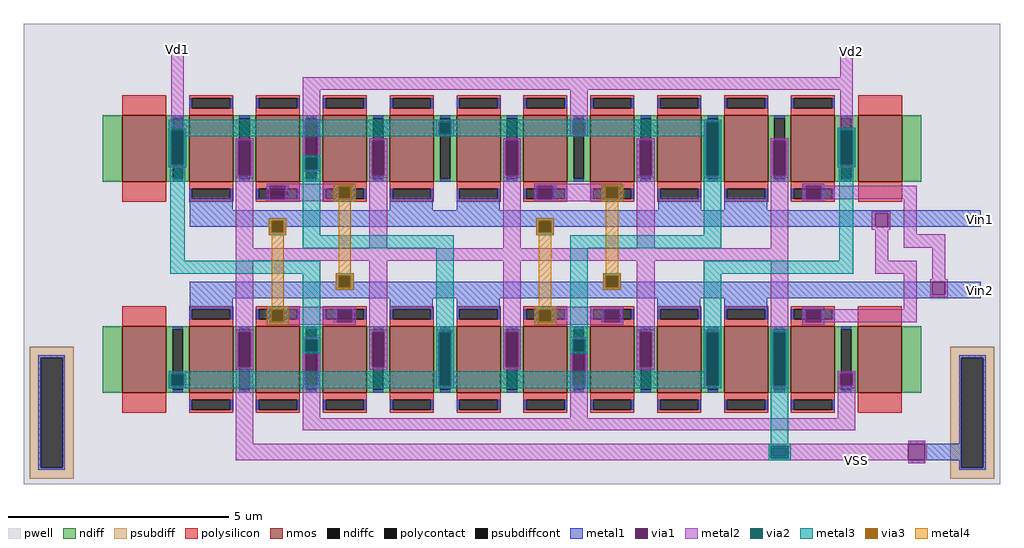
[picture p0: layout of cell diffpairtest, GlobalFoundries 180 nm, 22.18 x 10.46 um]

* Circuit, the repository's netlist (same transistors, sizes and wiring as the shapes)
* NGSPICE file created from diffpairtest_layout.ext - technology: gf180mcuD

.subckt nfet_03v3_CGC9B5 a_860_n150# a_n860_n242# a_n52_n150# a_n964_n150# a_356_n242#
+ a_n660_n150# a_n1572_n150# a_52_n242# a_1268_n242# a_964_n242# a_556_n150# a_n556_n242#
+ a_660_n242# a_n1468_n242# a_252_n150# a_n252_n242# a_n1164_n242# a_1468_n150# a_1164_n150#
+ a_n356_n150# a_n1268_n150# VSUBS
X0 a_n356_n150# a_n556_n242# a_n660_n150# VSUBS nfet_03v3 ad=0.39p pd=2.02u as=0.39p ps=2.02u w=1.5u l=1u
X1 a_n1268_n150# a_n1468_n242# a_n1572_n150# VSUBS nfet_03v3 ad=0.39p pd=2.02u as=0.39p ps=2.02u w=1.5u l=1u
X2 a_1164_n150# a_964_n242# a_860_n150# VSUBS nfet_03v3 ad=0.39p pd=2.02u as=0.39p ps=2.02u w=1.5u l=1u
X3 a_n660_n150# a_n860_n242# a_n964_n150# VSUBS nfet_03v3 ad=0.39p pd=2.02u as=0.39p ps=2.02u w=1.5u l=1u
X4 a_1468_n150# a_1268_n242# a_1164_n150# VSUBS nfet_03v3 ad=0.39p pd=2.02u as=0.39p ps=2.02u w=1.5u l=1u
X5 a_556_n150# a_356_n242# a_252_n150# VSUBS nfet_03v3 ad=0.39p pd=2.02u as=0.39p ps=2.02u w=1.5u l=1u
X6 a_n1572_n150# a_n1772_n242# a_n1860_n150# VSUBS nfet_03v3 ad=0.39p pd=2.02u as=0.66p ps=3.88u w=1.5u l=1u
X7 a_252_n150# a_52_n242# a_n52_n150# VSUBS nfet_03v3 ad=0.39p pd=2.02u as=0.39p ps=2.02u w=1.5u l=1u
X8 a_n52_n150# a_n252_n242# a_n356_n150# VSUBS nfet_03v3 ad=0.39p pd=2.02u as=0.39p ps=2.02u w=1.5u l=1u
X9 a_n964_n150# a_n1164_n242# a_n1268_n150# VSUBS nfet_03v3 ad=0.39p pd=2.02u as=0.39p ps=2.02u w=1.5u l=1u
X10 a_860_n150# a_660_n242# a_556_n150# VSUBS nfet_03v3 ad=0.39p pd=2.02u as=0.39p ps=2.02u w=1.5u l=1u
X11 a_1772_n150# a_1572_n242# a_1468_n150# VSUBS nfet_03v3 ad=0.66p pd=3.88u as=0.39p ps=2.02u w=1.5u l=1u
.ends

.subckt diffpairtest_layout Vin1 VSS Vd1 Vd2 Vin2
Xnfet_03v3_CGC9B5_0 Vd1 Vin2 VSS Vd2 Vin2 VSS Vd1 Vin2 Vin2 Vin1 VSS Vin1 Vin1 Vin1
+ Vd2 Vin1 Vin2 Vd2 VSS Vd1 VSS VSS nfet_03v3_CGC9B5
Xnfet_03v3_CGC9B5_1 Vd2 Vin1 VSS Vd1 Vin1 VSS Vd2 Vin1 Vin1 Vin2 VSS Vin2 Vin2 Vin2
+ Vd1 Vin2 Vin1 Vd1 VSS Vd2 VSS VSS nfet_03v3_CGC9B5
.ends

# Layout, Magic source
magic
tech gf180mcuD
magscale 1 10
<< pwell >>
rect 9322 1840 13758 3931
<< nmos >>
rect 9768 3215 9968 3515
rect 13113 3215 13313 3515
rect 9768 2256 9968 2556
rect 13112 2256 13312 2556
<< ndiff >>
rect 9680 3215 9768 3515
rect 9968 3215 10004 3515
rect 13093 3215 13113 3515
rect 13313 3215 13401 3515
rect 9680 2256 9768 2556
rect 9968 2256 9997 2556
rect 13083 2256 13112 2556
rect 13312 2256 13400 2556
<< psubdiff >>
rect 9347 2415 9547 2465
rect 9347 1915 9397 2415
rect 9497 1915 9547 2415
rect 13533 2415 13733 2465
rect 9347 1865 9547 1915
rect 13533 1915 13583 2415
rect 13683 1915 13733 2415
rect 13533 1865 13733 1915
<< psubdiffcont >>
rect 9397 1915 9497 2415
rect 13583 1915 13683 2415
<< polysilicon >>
rect 9768 3515 9968 3607
rect 13113 3515 13313 3607
rect 9768 3123 9968 3215
rect 10430 3135 10520 3205
rect 10430 3125 10520 3130
rect 13113 3123 13313 3215
rect 9768 2556 9968 2648
rect 13112 2556 13312 2648
rect 9768 2164 9968 2256
rect 13112 2164 13312 2256
<< metal1 >>
rect 10588 3486 10668 3496
rect 9980 3450 10060 3460
rect 9980 3289 9992 3450
rect 10048 3289 10060 3450
rect 9980 3279 10060 3289
rect 10284 3402 10364 3412
rect 10284 3241 10296 3402
rect 10352 3241 10364 3402
rect 10588 3269 10600 3486
rect 10656 3269 10668 3486
rect 11196 3486 11276 3496
rect 11196 3430 11208 3486
rect 11264 3430 11276 3486
rect 11196 3420 11276 3430
rect 11804 3486 11884 3496
rect 11804 3430 11816 3486
rect 11872 3430 11884 3486
rect 11804 3420 11884 3430
rect 12412 3486 12492 3496
rect 10588 3261 10668 3269
rect 10892 3402 10972 3412
rect 10284 3231 10364 3241
rect 10892 3241 10904 3402
rect 10960 3241 10972 3402
rect 10892 3231 10972 3241
rect 11500 3402 11580 3412
rect 11500 3241 11512 3402
rect 11568 3241 11580 3402
rect 11500 3231 11580 3241
rect 12108 3402 12188 3412
rect 12108 3241 12120 3402
rect 12176 3241 12188 3402
rect 12108 3231 12188 3241
rect 12412 3241 12424 3486
rect 12480 3241 12492 3486
rect 13020 3450 13100 3460
rect 12412 3231 12492 3241
rect 12716 3402 12796 3412
rect 12716 3241 12728 3402
rect 12784 3241 12796 3402
rect 13020 3289 13032 3450
rect 13088 3289 13100 3450
rect 13020 3279 13100 3289
rect 12716 3231 12796 3241
rect 10425 3140 10440 3195
rect 10075 3085 10270 3140
rect 10380 3135 10440 3140
rect 10510 3140 10525 3195
rect 10510 3135 10565 3140
rect 10730 3135 10745 3195
rect 10815 3135 10830 3195
rect 10985 3085 11180 3140
rect 11290 3085 11485 3140
rect 11640 3135 11655 3195
rect 11725 3135 11740 3195
rect 11945 3135 11960 3195
rect 12030 3135 12045 3195
rect 12205 3085 12400 3140
rect 12505 3085 12700 3140
rect 12860 3135 12875 3195
rect 12945 3135 12960 3195
rect 10075 3070 13670 3085
rect 10075 3037 13190 3070
rect 10075 3010 10447 3037
rect 10435 2981 10447 3010
rect 10503 3010 11662 3037
rect 10503 2981 10515 3010
rect 10435 2971 10515 2981
rect 11650 2981 11662 3010
rect 11718 3010 13190 3037
rect 13250 3010 13670 3070
rect 11718 2981 11730 3010
rect 11650 2971 11730 2981
rect 10740 2789 10820 2799
rect 10740 2760 10752 2789
rect 10075 2733 10752 2760
rect 10808 2760 10820 2789
rect 11955 2789 12035 2799
rect 11955 2760 11967 2789
rect 10808 2733 11967 2760
rect 12023 2760 12035 2789
rect 12023 2733 13450 2760
rect 10075 2700 13450 2733
rect 13510 2700 13670 2760
rect 10075 2685 13670 2700
rect 10075 2635 10270 2685
rect 10985 2635 11180 2685
rect 11290 2635 11485 2685
rect 12200 2635 12395 2685
rect 12505 2635 12700 2685
rect 10430 2590 10440 2635
rect 10425 2575 10440 2590
rect 10510 2590 10520 2635
rect 10735 2590 10745 2635
rect 10510 2575 10525 2590
rect 10730 2575 10745 2590
rect 10815 2590 10825 2635
rect 11645 2590 11655 2635
rect 10815 2575 10830 2590
rect 11640 2575 11655 2590
rect 11725 2590 11735 2635
rect 11950 2590 11960 2635
rect 11725 2575 11740 2590
rect 11945 2575 11960 2590
rect 12030 2590 12040 2635
rect 12865 2590 12875 2635
rect 12030 2575 12045 2590
rect 12860 2575 12875 2590
rect 12945 2590 12955 2635
rect 12945 2575 12960 2590
rect 10284 2531 10364 2541
rect 9386 2415 9508 2426
rect 9386 1915 9397 2415
rect 9497 1915 9508 2415
rect 10284 2370 10296 2531
rect 10352 2370 10364 2531
rect 10892 2531 10972 2541
rect 10284 2360 10364 2370
rect 10588 2497 10668 2507
rect 9980 2342 10060 2352
rect 9980 2286 9992 2342
rect 10048 2286 10060 2342
rect 9980 2276 10060 2286
rect 10588 2286 10600 2497
rect 10656 2286 10668 2497
rect 10892 2370 10904 2531
rect 10960 2370 10972 2531
rect 10892 2360 10972 2370
rect 11196 2531 11276 2541
rect 10588 2276 10668 2286
rect 11196 2286 11208 2531
rect 11264 2286 11276 2531
rect 11500 2531 11580 2541
rect 11500 2370 11512 2531
rect 11568 2370 11580 2531
rect 12108 2531 12188 2541
rect 11500 2360 11580 2370
rect 11804 2497 11884 2507
rect 11196 2276 11276 2286
rect 11804 2286 11816 2497
rect 11872 2286 11884 2497
rect 12108 2370 12120 2531
rect 12176 2370 12188 2531
rect 12108 2360 12188 2370
rect 12412 2531 12492 2541
rect 11804 2276 11884 2286
rect 12412 2286 12424 2531
rect 12480 2286 12492 2531
rect 12412 2276 12492 2286
rect 12716 2531 12796 2541
rect 12716 2286 12728 2531
rect 12784 2286 12796 2531
rect 13572 2415 13694 2426
rect 12716 2276 12796 2286
rect 13020 2343 13100 2353
rect 13020 2286 13032 2343
rect 13088 2286 13100 2343
rect 13020 2276 13100 2286
rect 13340 2024 13419 2036
rect 13572 2024 13583 2415
rect 13340 1947 13342 2024
rect 13417 1947 13583 2024
rect 13340 1935 13419 1947
rect 9386 1904 9508 1915
rect 13572 1915 13583 1947
rect 13683 1915 13694 2415
rect 13572 1904 13694 1915
<< via1 >>
rect 9992 3289 10048 3450
rect 10296 3241 10352 3402
rect 10600 3269 10656 3486
rect 11208 3430 11264 3486
rect 11816 3430 11872 3486
rect 10904 3241 10960 3402
rect 11512 3241 11568 3402
rect 12120 3241 12176 3402
rect 12424 3241 12480 3486
rect 12728 3241 12784 3402
rect 13032 3289 13088 3450
rect 10440 3135 10510 3195
rect 10745 3135 10815 3195
rect 11655 3135 11725 3195
rect 11960 3135 12030 3195
rect 12875 3135 12945 3195
rect 10447 2981 10503 3037
rect 11662 2981 11718 3037
rect 13190 3010 13250 3070
rect 10752 2733 10808 2789
rect 11967 2733 12023 2789
rect 13450 2700 13510 2760
rect 10440 2575 10510 2635
rect 10745 2575 10815 2635
rect 11655 2575 11725 2635
rect 11960 2575 12030 2635
rect 12875 2575 12945 2635
rect 10296 2370 10352 2531
rect 9992 2286 10048 2342
rect 10600 2286 10656 2497
rect 10904 2370 10960 2531
rect 11208 2286 11264 2531
rect 11512 2370 11568 2531
rect 11816 2286 11872 2497
rect 12120 2370 12176 2531
rect 12424 2286 12480 2531
rect 12728 2286 12784 2531
rect 13032 2286 13088 2343
rect 13342 1947 13417 2024
<< metal2 >>
rect 9992 3460 10048 3814
rect 13032 3688 13088 3804
rect 10588 3632 13088 3688
rect 10588 3486 10668 3632
rect 9980 3450 10060 3460
rect 9980 3289 9992 3450
rect 10048 3289 10060 3450
rect 9980 3279 10060 3289
rect 10284 3402 10364 3412
rect 10284 3241 10296 3402
rect 10352 3241 10364 3402
rect 10588 3269 10600 3486
rect 10656 3269 10668 3486
rect 11196 3486 11276 3496
rect 11196 3430 11208 3486
rect 11264 3430 11276 3486
rect 11196 3420 11276 3430
rect 11804 3486 11884 3632
rect 11804 3430 11816 3486
rect 11872 3430 11884 3486
rect 11804 3420 11884 3430
rect 12412 3486 12492 3496
rect 10588 3261 10668 3269
rect 10892 3402 10972 3412
rect 10284 2911 10364 3241
rect 10892 3241 10904 3402
rect 10960 3241 10972 3402
rect 10425 3195 10830 3205
rect 10425 3135 10440 3195
rect 10510 3135 10745 3195
rect 10815 3135 10830 3195
rect 10425 3125 10830 3135
rect 10435 3037 10515 3047
rect 10435 2981 10447 3037
rect 10503 2981 10515 3037
rect 10435 2971 10515 2981
rect 10892 2911 10972 3241
rect 11500 3402 11580 3412
rect 11500 3241 11512 3402
rect 11568 3241 11580 3402
rect 11500 2911 11580 3241
rect 12108 3402 12188 3412
rect 12108 3241 12120 3402
rect 12176 3241 12188 3402
rect 11640 3195 12045 3205
rect 11640 3135 11655 3195
rect 11725 3135 11960 3195
rect 12030 3135 12045 3195
rect 11640 3125 12045 3135
rect 11650 3037 11730 3047
rect 11650 2981 11662 3037
rect 11718 2981 11730 3037
rect 11650 2971 11730 2981
rect 12108 2911 12188 3241
rect 12412 3241 12424 3486
rect 12480 3241 12492 3486
rect 13032 3460 13088 3632
rect 13020 3450 13100 3460
rect 12412 3231 12492 3241
rect 12716 3402 12796 3412
rect 12716 3241 12728 3402
rect 12784 3241 12796 3402
rect 13020 3289 13032 3450
rect 13088 3289 13100 3450
rect 13020 3279 13100 3289
rect 12716 2911 12796 3241
rect 12860 3195 12960 3205
rect 13154 3195 13380 3196
rect 12860 3135 12875 3195
rect 12945 3136 13380 3195
rect 12945 3135 13119 3136
rect 12860 3125 12960 3135
rect 13175 3070 13260 3080
rect 13175 3010 13190 3070
rect 13250 3010 13260 3070
rect 13175 2995 13260 3010
rect 10284 2855 12796 2911
rect 10284 2531 10364 2855
rect 10740 2789 10820 2799
rect 10740 2733 10752 2789
rect 10808 2733 10820 2789
rect 10740 2723 10820 2733
rect 10425 2635 10830 2645
rect 10425 2575 10440 2635
rect 10510 2575 10745 2635
rect 10815 2575 10830 2635
rect 10425 2565 10830 2575
rect 10284 2370 10296 2531
rect 10352 2370 10364 2531
rect 10892 2531 10972 2855
rect 9980 2342 10060 2352
rect 9980 2286 9992 2342
rect 10048 2286 10060 2342
rect 9980 2276 10060 2286
rect 10284 2024 10364 2370
rect 10588 2497 10668 2507
rect 10588 2286 10600 2497
rect 10656 2286 10668 2497
rect 10892 2370 10904 2531
rect 10960 2370 10972 2531
rect 10892 2360 10972 2370
rect 11196 2531 11276 2541
rect 10588 2140 10668 2286
rect 11196 2286 11208 2531
rect 11264 2286 11276 2531
rect 11500 2531 11580 2855
rect 11955 2789 12035 2799
rect 11955 2733 11967 2789
rect 12023 2733 12035 2789
rect 11955 2723 12035 2733
rect 11640 2635 12045 2645
rect 11640 2575 11655 2635
rect 11725 2575 11960 2635
rect 12030 2575 12045 2635
rect 11640 2565 12045 2575
rect 11500 2370 11512 2531
rect 11568 2370 11580 2531
rect 12108 2531 12188 2855
rect 11500 2360 11580 2370
rect 11804 2497 11884 2507
rect 11196 2276 11276 2286
rect 11804 2286 11816 2497
rect 11872 2286 11884 2497
rect 12108 2370 12120 2531
rect 12176 2370 12188 2531
rect 12108 2360 12188 2370
rect 12412 2531 12492 2541
rect 11804 2140 11884 2286
rect 12412 2286 12424 2531
rect 12480 2286 12492 2531
rect 12412 2276 12492 2286
rect 12716 2531 12796 2855
rect 13190 2855 13250 2995
rect 13320 2975 13380 3136
rect 13320 2915 13510 2975
rect 13190 2795 13380 2855
rect 12860 2635 12960 2645
rect 13320 2635 13380 2795
rect 13450 2770 13510 2915
rect 13440 2760 13520 2770
rect 13440 2700 13450 2760
rect 13510 2700 13520 2760
rect 13440 2690 13520 2700
rect 12860 2575 12875 2635
rect 12945 2575 13380 2635
rect 12860 2565 12960 2575
rect 12716 2286 12728 2531
rect 12784 2286 12796 2531
rect 12716 2276 12796 2286
rect 13020 2343 13100 2353
rect 13020 2286 13032 2343
rect 13088 2286 13100 2343
rect 13020 2140 13100 2286
rect 10588 2084 13100 2140
rect 13340 2024 13419 2036
rect 10284 2013 13342 2024
rect 10284 1957 12716 2013
rect 12796 1957 13342 2013
rect 10284 1947 13342 1957
rect 13417 1947 13426 2024
rect 13340 1935 13419 1947
<< via2 >>
rect 9992 3289 10048 3450
rect 10600 3269 10656 3325
rect 11208 3430 11264 3486
rect 10752 3137 10808 3193
rect 10447 2981 10503 3037
rect 11967 3137 12023 3193
rect 11662 2981 11718 3037
rect 12424 3241 12480 3486
rect 13032 3289 13088 3450
rect 10752 2733 10808 2789
rect 10447 2577 10503 2633
rect 9992 2286 10048 2342
rect 10600 2441 10656 2497
rect 11208 2286 11264 2531
rect 11967 2733 12023 2789
rect 11662 2577 11718 2633
rect 11816 2441 11872 2497
rect 12424 2286 12480 2531
rect 12728 2286 12784 2531
rect 12716 1957 12796 2013
<< metal3 >>
rect 9980 3486 12492 3496
rect 9980 3450 11208 3486
rect 9980 3289 9992 3450
rect 10048 3430 11208 3450
rect 11264 3430 12424 3486
rect 10048 3420 12424 3430
rect 10048 3289 10060 3420
rect 9980 3279 10060 3289
rect 10588 3325 10668 3335
rect 9987 2855 10052 3279
rect 10588 3269 10600 3325
rect 10656 3269 10668 3325
rect 10435 3037 10515 3047
rect 10435 2981 10447 3037
rect 10503 2981 10515 3037
rect 10435 2971 10515 2981
rect 10588 2971 10668 3269
rect 12412 3241 12424 3420
rect 12480 3241 12492 3486
rect 13020 3450 13100 3460
rect 13020 3289 13032 3450
rect 13088 3289 13100 3450
rect 13020 3279 13100 3289
rect 10730 3193 10830 3205
rect 10730 3137 10752 3193
rect 10808 3137 10830 3193
rect 10730 3125 10830 3137
rect 11945 3193 12045 3205
rect 11945 3137 11967 3193
rect 12023 3137 12045 3193
rect 11945 3125 12045 3137
rect 11650 3037 11730 3047
rect 11650 2981 11662 3037
rect 11718 2981 11730 3037
rect 11650 2971 11730 2981
rect 12412 2971 12492 3241
rect 10588 2911 11276 2971
rect 9987 2795 10668 2855
rect 10425 2633 10525 2645
rect 10425 2577 10447 2633
rect 10503 2577 10525 2633
rect 10425 2565 10525 2577
rect 10588 2497 10668 2795
rect 10740 2789 10820 2799
rect 10740 2733 10752 2789
rect 10808 2733 10820 2789
rect 10740 2723 10820 2733
rect 10588 2441 10600 2497
rect 10656 2441 10668 2497
rect 10588 2431 10668 2441
rect 11196 2531 11276 2911
rect 11804 2911 12492 2971
rect 11640 2633 11740 2645
rect 11640 2577 11662 2633
rect 11718 2577 11740 2633
rect 11640 2565 11740 2577
rect 11196 2352 11208 2531
rect 9980 2342 11208 2352
rect 9980 2286 9992 2342
rect 10048 2286 11208 2342
rect 11264 2352 11276 2531
rect 11804 2497 11884 2911
rect 13027 2855 13092 3279
rect 11955 2789 12035 2799
rect 11955 2733 11967 2789
rect 12023 2733 12035 2789
rect 11955 2723 12035 2733
rect 12412 2795 13092 2855
rect 11804 2441 11816 2497
rect 11872 2441 11884 2497
rect 11804 2431 11884 2441
rect 12412 2531 12492 2795
rect 12412 2352 12424 2531
rect 11264 2286 12424 2352
rect 12480 2286 12492 2531
rect 9980 2276 12492 2286
rect 12716 2531 12796 2541
rect 12716 2286 12728 2531
rect 12784 2286 12796 2531
rect 12716 2024 12796 2286
rect 12706 2013 12806 2024
rect 12706 1957 12716 2013
rect 12796 1957 12806 2013
rect 12706 1947 12806 1957
<< via3 >>
rect 10447 2981 10503 3037
rect 10752 3137 10808 3193
rect 11967 3137 12023 3193
rect 11662 2981 11718 3037
rect 10447 2577 10503 2633
rect 10752 2733 10808 2789
rect 11662 2577 11718 2633
rect 11967 2733 12023 2789
<< metal4 >>
rect 10730 3193 10830 3205
rect 10730 3137 10752 3193
rect 10808 3137 10830 3193
rect 10730 3125 10830 3137
rect 11945 3193 12045 3205
rect 11945 3137 11967 3193
rect 12023 3137 12045 3193
rect 11945 3125 12045 3137
rect 10435 3037 10515 3047
rect 10435 2981 10447 3037
rect 10503 2981 10515 3037
rect 10435 2971 10515 2981
rect 10447 2645 10503 2971
rect 10752 2799 10808 3125
rect 11650 3037 11730 3047
rect 11650 2981 11662 3037
rect 11718 2981 11730 3037
rect 11650 2971 11730 2981
rect 10740 2789 10820 2799
rect 10740 2733 10752 2789
rect 10808 2733 10820 2789
rect 10740 2723 10820 2733
rect 11662 2645 11718 2971
rect 11967 2799 12023 3125
rect 11955 2789 12035 2799
rect 11955 2733 11967 2789
rect 12023 2733 12035 2789
rect 11955 2723 12035 2733
rect 10425 2633 10525 2645
rect 10425 2577 10447 2633
rect 10503 2577 10525 2633
rect 10425 2565 10525 2577
rect 11640 2633 11740 2645
rect 11640 2577 11662 2633
rect 11718 2577 11740 2633
rect 11640 2565 11740 2577
use nfet_03v3_CUC8B5  nfet_03v3_CUC8B5_0
transform 1 0 11540 0 1 3365
box -1580 -266 1580 266
use nfet_03v3_CUC8B5  nfet_03v3_CUC8B5_1
transform 1 0 11540 0 1 2406
box -1580 -266 1580 266
<< labels >>
rlabel pwell 13105 1946 13105 1946 5 VSS
port 1 s
rlabel metal2 10021 3814 10021 3814 1 Vd1
port 2 n
rlabel metal1 13669 3044 13669 3044 3 Vin1
port 0 e
rlabel metal1 13670 2720 13670 2720 3 Vin2
port 4 e
rlabel metal2 13085 3804 13085 3804 1 Vd2
port 3 n
<< end >>

# cell nfet_03v3_CUC8B5: kit device nfet_03v3, w 1.5 l 1 m 1 nf 10 diffcov 100 polycov 100 guard 0 glc 1 grc 1 gtc 0 gbc 0 tbcov 100 rlcov 100 topc 1 botc 1 poverlap 0 doverlap 1 lmin 0.28 wmin 0.22 class mosfet full_metal 0 compatible {nfet_03v3 nfet_06v0 nfet_06v0_nvt}
